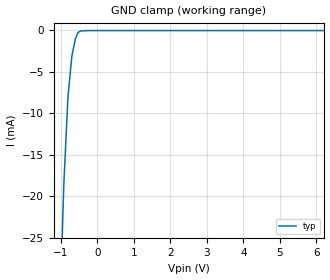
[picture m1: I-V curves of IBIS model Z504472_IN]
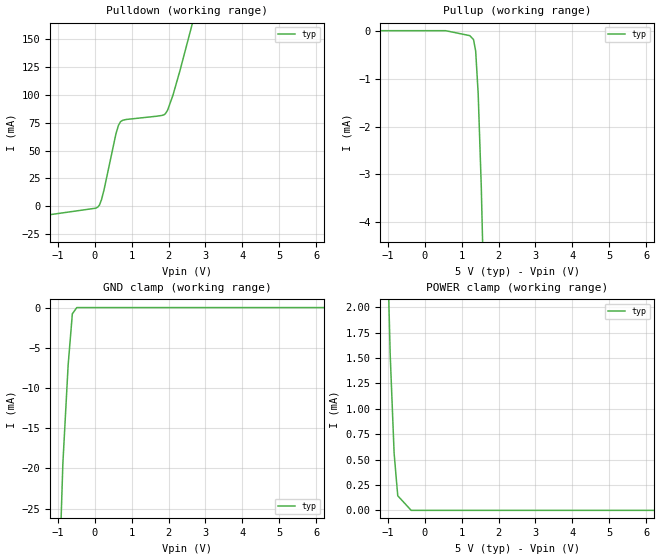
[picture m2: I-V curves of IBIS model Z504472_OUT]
| YOU ARE ONLY AUTHORIZED TO USE THIS SOFTWARE
| ACCORDING TO LICENSOR'S LICENSE RESTRICTIONS.
[IBIS Ver] 3.1
[File Name] sn54ls688j.ibs
[File Rev] 2.0
[Source] Measured and created by ICX Technology
[Date] Friday 7/14/00 9:08:15 AM
[Copyright]
| (C) COPYRIGHT 1993-2000
| MENTOR GRAPHICS CORPORATION
| ICX STANDARD LIBRARY, ICX PROJECT MODELING,
| ICX CUSTOM MODELING, ICX VENDOR MODEL
| ALL RIGHTS RESERVED.
| THE FOLLOWING ARE TRADEMARKS OR SERVICE MARKS OF
| MENTOR GRAPHICS CORPORATION:ICX (R), ICX STANDARD
| LIBRARY(R), ICX PROJECT MODELING(R), ICX CUSTOM
| MODELING(R), qualityIBIS(TM), MODELVIEWER(TM),
| AND MODELEDITOR(TM)
| ALL COPIES OF SOFTWARE, INCLUDING BUT NOT LIMITED TO
| ANY MODIFICATIONS, ENHANCEMENTS OR DERIVATIVE WORKS,
| MUST CONTAIN ALL MENTOR GRAPHICS CORPORATION'S
| NOTICES AND LEGENDS, INCLUDING THOSE EMBEDDED IN
| SOFTWARE AND THOSE AFFIXED TO SOFTWARE MEDIUM
| AND CONTAINER, AS RECEIVED FROM MENTOR GRAPHICS
| CORPORATION.
|  ZAP Model Builder 2.7
[Component] SN54LS688J
[Manufacturer] OnSemiconductor
[Package]
| variable   typ   min   max
R_pkg  .216ohms NA NA
L_pkg  5.76nH NA NA
C_pkg  2.193pF NA NA
[Pin] signal_name  model_name  R_pin  L_pin C_pin
1 _G Z504472_IN .232 9.76n 3.179p
2 P0 Z504472_IN .224 7.26n 2.686p
3 Q0 Z504472_IN .216 5.26n 2.193p
4 P1 Z504472_IN .208 3.76n 1.7p
5 Q1 Z504472_IN .2 2.76n 1.207p
6 P2 Z504472_IN .2 2.76n 1.207p
7 Q2 Z504472_IN .208 3.76n 1.7p
8 P3 Z504472_IN .216 5.26n 2.193p
9 Q3 Z504472_IN .224 7.26n 2.686p
10 GND GND .232 9.76n 3.179p
11 P4 Z504472_IN .232 9.76n 3.179p
12 Q4 Z504472_IN .224 7.26n 2.686p
13 P5 Z504472_IN .216 5.26n 2.193p
14 Q5 Z504472_IN .208 3.76n 1.7p
15 P6 Z504472_IN .2 2.76n 1.207p
16 Q6 Z504472_IN .2 2.76n 1.207p
17 P7 Z504472_IN .208 3.76n 1.7p
18 Q7 Z504472_IN .216 5.26n 2.193p
19 _P_EQ_Q Z504472_OUT .224 7.26n 2.686p
20 VCC POWER .232 9.76n 3.179p
| Models and submodels in the file (2): Z504472_IN (Input), Z504472_OUT (Output)
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| (C) COPYRIGHT 1993-2000
| MENTOR GRAPHICS CORPORATION
| ICX STANDARD LIBRARY, ICX PROJECT MODELING,
| ICX CUSTOM MODELING, ICX VENDOR MODEL
| ALL RIGHTS RESERVED.
| THE FOLLOWING ARE TRADEMARKS OR SERVICE MARKS OF
| MENTOR GRAPHICS CORPORATION:ICX (R), ICX STANDARD
| LIBRARY(R), ICX PROJECT MODELING(R), ICX CUSTOM
| MODELING(R), qualityIBIS(TM), MODELVIEWER(TM),
| AND MODELEDITOR(TM)
| ALL COPIES OF SOFTWARE, INCLUDING BUT NOT LIMITED TO
| ANY MODIFICATIONS, ENHANCEMENTS OR DERIVATIVE WORKS,
| MUST CONTAIN ALL MENTOR GRAPHICS CORPORATION'S
| NOTICES AND LEGENDS, INCLUDING THOSE EMBEDDED IN
| SOFTWARE AND THOSE AFFIXED TO SOFTWARE MEDIUM
| AND CONTAINER, AS RECEIVED FROM MENTOR GRAPHICS
| CORPORATION.
| Model Application Version 1.89 2/18/99.
[Model] Z504472_IN
Model_type Input
Vinl = 800.0mV
Vinh = 2.000V
C_comp 4.000pF NA NA
| variable typ   min   max
[Voltage Range] 5.000V NA NA
[GND Clamp Reference] 0.000V NA NA
[POWER Clamp Reference] 5.000V NA NA
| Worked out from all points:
|   GND clamp passes 1 mA (typ) near -0.60 V on its own axis
[GND Clamp]
-5V       -603mA     NA         NA
-918mV    -18.57mA   NA         NA
-805.5mV  -8.034mA   NA         NA
-698.2mV  -3.119mA   NA         NA
-600.1mV  -956.9uA   NA         NA
-527.4mV  -239.9uA   NA         NA
-449mV    -49.1uA    NA         NA
-224.5mV  -14.17uA   NA         NA
10V       -14.17uA   NA         NA
[POWER Clamp]
-5V       0A         NA         NA
10V       0A         NA         NA
| (C) COPYRIGHT 1993-2000
| MENTOR GRAPHICS CORPORATION
| ICX STANDARD LIBRARY, ICX PROJECT MODELING,
| ICX CUSTOM MODELING, ICX VENDOR MODEL
| ALL RIGHTS RESERVED.
| THE FOLLOWING ARE TRADEMARKS OR SERVICE MARKS OF
| MENTOR GRAPHICS CORPORATION:ICX (R), ICX STANDARD
| LIBRARY(R), ICX PROJECT MODELING(R), ICX CUSTOM
| MODELING(R), qualityIBIS(TM), MODELVIEWER(TM),
| AND MODELEDITOR(TM)
| ALL COPIES OF SOFTWARE, INCLUDING BUT NOT LIMITED TO
| ANY MODIFICATIONS, ENHANCEMENTS OR DERIVATIVE WORKS,
| MUST CONTAIN ALL MENTOR GRAPHICS CORPORATION'S
| NOTICES AND LEGENDS, INCLUDING THOSE EMBEDDED IN
| SOFTWARE AND THOSE AFFIXED TO SOFTWARE MEDIUM
| AND CONTAINER, AS RECEIVED FROM MENTOR GRAPHICS
| CORPORATION.
| Model Application Version 1.89 2/18/99.
[Model] Z504472_OUT
Model_type Output
Vref=5.000V
Rref=2.000kohms
Cref=15.00pF
Vmeas=1.300V
C_comp 8.000pF NA NA
| variable typ   min   max
[Voltage Range] 5.000V NA NA
[POWER Clamp Reference] 5.000V NA NA
[Pullup Reference] 5.000V NA NA
[Pulldown Reference] 0.000V NA NA
[GND Clamp Reference] 0.000V NA NA
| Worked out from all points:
|   slope of the pulldown table from 0 to 0.75 V, typ, clamps not added: 9.49 ohm
|   slope of the pullup table from 0 to 0.75 V, typ, clamps not added: 25.9 kohm
|   GND clamp passes 1 mA (typ) near -0.61 V on its own axis
|   POWER clamp passes 1 mA (typ) near -0.87 V on its own axis
[GND Clamp]
-5V       -1.022A    NA         NA
-1.162V   -71.28mA   NA         NA
-1.014V   -41.62mA   NA         NA
-859.3mV  -19.4mA    NA         NA
-717.1mV  -7.187mA   NA         NA
-602.8mV  -773.6uA   NA         NA
-482.2mV  0A         NA         NA
10V       0A         NA         NA
[Pulldown]
-5V       -25.54mA   NA         NA
87.89mV   -804.6uA   NA         NA
184.9mV   5.715mA    NA         NA
253.7mV   14.51mA    NA         NA
576.2mV   64.99mA    NA         NA
645.8mV   72.74mA    NA         NA
704.1mV   76.08mA    NA         NA
1.914V    83.13mA    NA         NA
1.972V    86.08mA    NA         NA
2.118V    99.56mA    NA         NA
2.311V    122.1mA    NA         NA
10V       1.093A     NA         NA
[Pullup]
-5V       6.424uA    NA         NA
566mV     6.424uA    NA         NA
1.222V    -96.97uA   NA         NA
1.323V    -178.9uA   NA         NA
1.381V    -418.2uA   NA         NA
1.449V    -1.305mA   NA         NA
1.533V    -3.257mA   NA         NA
10V       -276.9mA   NA         NA
[POWER Clamp]
-5V       60.18mA    NA         NA
-932mV    1.535mA    NA         NA
-825mV    559.3uA    NA         NA
-727mV    143.4uA    NA         NA
-363.5mV  0A         NA         NA
10V       0A         NA         NA
[Ramp]
| variable typ min max
dV/dt_r 1.955/3.919n NA NA
dV/dt_f 1.955/2.589n NA NA
R_load = 500.0Ohms
